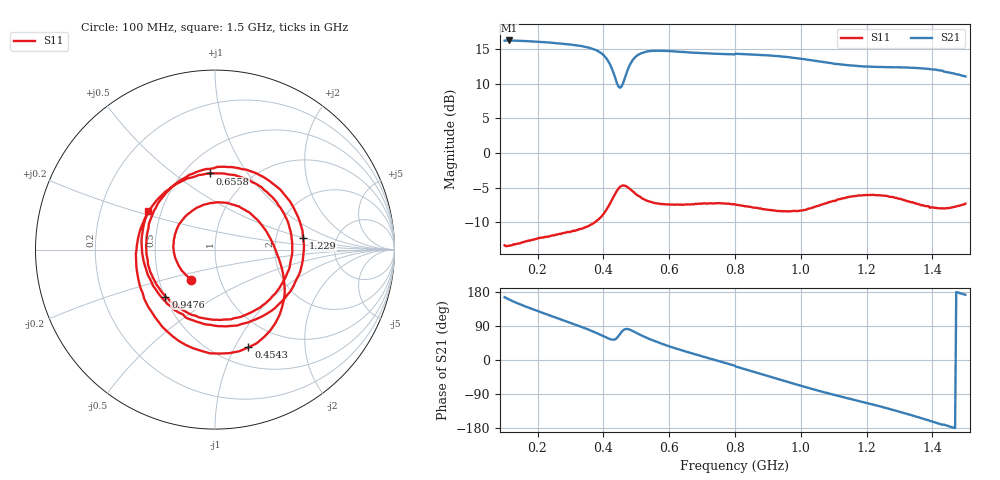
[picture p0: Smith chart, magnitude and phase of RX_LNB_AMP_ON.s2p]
# HZ S RI R 50
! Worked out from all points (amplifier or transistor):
!   404 points, 100 MHz to 1.5 GHz, reference 50 ohm
!   highest |S21| = 16.2 dB at 113.9 MHz (marker M1)
!   |S21| within 3 dB of that: 486.8 MHz to 1.052 GHz (565.5 MHz wide, 73.5 % of centre)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
!   S11 on the Smith chart (normalised r, x): 100 MHz: 0.73, -0.26; 454.3 MHz: 0.70, -1.14; 655.8 MHz: 0.66, +0.69; 947.6 MHz: 0.50, -0.31; 1.229 GHz: 2.87, +0.49; 1.5 GHz: 0.42, +0.22
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1e8  -0.131 -0.1715  -6.242 1.586  0 0  0 0
1.138958e8  -0.1553 -0.1471  -6.057 2.271  0 0  0 0
1.62531e8  -0.2297 -0.0128  -5.01 3.986  0 0  0 0
2.215881e8  -0.1682 0.1822  -3.371 5.303  0 0  0 0
2.841191e8  0.0433 0.2623  -1.384 5.938  0 0  0 0
3.362283e8  0.222 0.179  0.354 5.852  0 0  0 0
3.813895e8  0.326 0.0268  1.829 5.144  0 0  0 0
4.12655e8  0.3786 -0.1322  2.501 3.952  0 0  0 0
4.369727e8  0.3592 -0.3655  1.978 2.807  0 0  0 0
4.543424e8  0.1866 -0.5446  0.8778 2.863  0 0  0 0
4.717121e8  -0.0765 -0.5642  0.5366 3.806  0 0  0 0
4.995037e8  -0.3347 -0.376  1.537 4.729  0 0  0 0
5.689826e8  -0.4173 0.1083  3.812 3.896  0 0  0 0
6.558312e8  -0.0274 0.4244  4.963 1.902  0 0  0 0
8.017369e8  0.403 -0.1295  4.969 -1.516  0 0  0 0
9.476426e8  -0.2764 -0.2614  2.855 -4.031  0 0  0 0
1.034491e9  -0.3401 0.2162  1.077 -4.525  0 0  0 0
1.124814e9  0.0929 0.4602  -0.5376 -4.301  0 0  0 0
1.229032e9  0.4914 0.0646  -2.068 -3.62  0 0  0 0
1.267246e9  0.4567 -0.1606  -2.595 -3.239  0 0  0 0
1.388834e9  -0.1619 -0.3791  -3.771 -1.431  0 0  0 0
1.5e9  -0.374 0.2127  -3.53 0.4744  0 0  0 0
